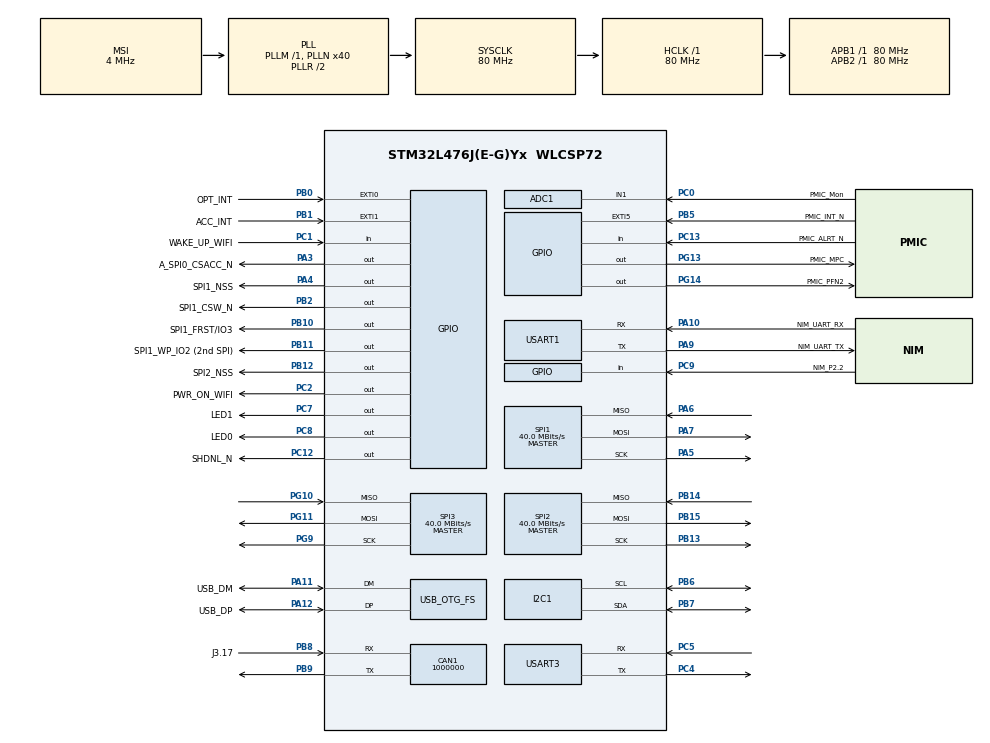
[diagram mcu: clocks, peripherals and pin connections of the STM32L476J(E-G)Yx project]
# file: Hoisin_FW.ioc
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ADC1.Channel-1\#ChannelRegularConversion=ADC_CHANNEL_1
ADC1.NbrOfConversionFlag=1
ADC1.OffsetNumber-1\#ChannelRegularConversion=ADC_OFFSET_NONE
ADC1.Rank-1\#ChannelRegularConversion=1
ADC1.SamplingTime-1\#ChannelRegularConversion=ADC_SAMPLETIME_2CYCLES_5
ADC1.master=1
CAN1.BS2=CAN_BS2_3TQ
CAN1.CalculateBaudRate=1000000
CAN1.CalculateTimeBit=1000
CAN1.CalculateTimeQuantum=200.0
I2C1.Timing=0x10D19CE4
Mcu.Family=STM32L4
Mcu.Name=STM32L476J(E-G)Yx
Mcu.Package=WLCSP72
NVIC.OTG_FS_IRQn=true\:0\:0\:false\:false\:true\:false\:true\:true
NVIC.PriorityGroup=NVIC_PRIORITYGROUP_4
PA10.GPIO_Label=NIM_UART_RX
PA10.Mode=Asynchronous
PA10.Signal=USART1_RX
PA11.GPIO_Label=USB_DM
PA11.Mode=Device_Only
PA11.Signal=USB_OTG_FS_DM
PA12.GPIO_Label=USB_DP
PA12.Mode=Device_Only
PA12.Signal=USB_OTG_FS_DP
PA13\ (JTMS-SWDIO).GPIO_Label=NIM_SWDIO
PA13\ (JTMS-SWDIO).Mode=Serial_Wire
PA13\ (JTMS-SWDIO).Signal=SYS_JTMS-SWDIO
PA14\ (JTCK-SWCLK).GPIO_Label=NIM_SWDCLK
PA14\ (JTCK-SWCLK).Mode=Serial_Wire
PA14\ (JTCK-SWCLK).Signal=SYS_JTCK-SWCLK
PA3.GPIO_Label=A_SPI0_CSACC_N
PA3.Signal=GPIO_Output
PA4.GPIO_Label=SPI1_NSS
PA4.Signal=GPIO_Output
PA5.Mode=Full_Duplex_Master
PA5.Signal=SPI1_SCK
PA6.Mode=Full_Duplex_Master
PA6.Signal=SPI1_MISO
PA7.Mode=Full_Duplex_Master
PA7.Signal=SPI1_MOSI
PA9.GPIO_Label=NIM_UART_TX
PA9.Mode=Asynchronous
PA9.Signal=USART1_TX
PB0.GPIO_Label=OPT_INT
PB0.Signal=GPXTI0
PB1.GPIO_Label=ACC_INT
PB1.Signal=GPXTI1
PB10.GPIO_Label=SPI1_FRST/IO3
PB10.Signal=GPIO_Output
PB11.GPIO_Label=SPI1_WP_IO2 (2nd SPI)
PB11.Signal=GPIO_Output
PB12.GPIO_Label=SPI2_NSS
PB12.Signal=GPIO_Output
PB13.Mode=Full_Duplex_Master
PB13.Signal=SPI2_SCK
PB14.Mode=Full_Duplex_Master
PB14.Signal=SPI2_MISO
PB15.Mode=Full_Duplex_Master
PB15.Signal=SPI2_MOSI
PB2.GPIO_Label=SPI1_CSW_N
PB2.Signal=GPIO_Output
PB5.GPIO_Label=PMIC_INT_N
PB5.Signal=GPXTI5
PB6.Mode=I2C
PB6.Signal=I2C1_SCL
PB7.Mode=I2C
PB7.Signal=I2C1_SDA
PB8.GPIO_Label=J3.17
PB8.Mode=CAN_Activate
PB8.Signal=CAN1_RX
PB9.Mode=CAN_Activate
PB9.Signal=CAN1_TX
PC0.GPIO_Label=PMIC_Mon
PC0.Signal=ADCx_IN1
PC1.GPIO_Label=WAKE_UP_WIFI
PC1.Signal=GPIO_Input
PC12.GPIO_Label=SHDNL_N
PC12.Signal=GPIO_Output
PC13.GPIO_Label=PMIC_ALRT_N
PC13.Signal=GPIO_Input
PC14-OSC32_IN\ (PC14).Mode=LSE-External-Oscillator
PC14-OSC32_IN\ (PC14).Signal=RCC_OSC32_IN
PC15-OSC32_OUT\ (PC15).Mode=LSE-External-Oscillator
PC15-OSC32_OUT\ (PC15).Signal=RCC_OSC32_OUT
PC2.GPIO_Label=PWR_ON_WIFI
PC2.Signal=GPIO_Output
PC4.Mode=Asynchronous
PC4.Signal=USART3_TX
PC5.Mode=Asynchronous
PC5.Signal=USART3_RX
PC7.GPIO_Label=LED1
PC7.Signal=GPIO_Output
PC8.GPIO_Label=LED0
PC8.Signal=GPIO_Output
PC9.GPIO_Label=NIM_P2.2
PC9.Signal=GPIO_Input
PG10.Mode=Full_Duplex_Master
PG10.Signal=SPI3_MISO
PG11.Mode=Full_Duplex_Master
PG11.Signal=SPI3_MOSI
PG12.Signal=SPI3_NSS
PG13.GPIO_Label=PMIC_MPC
PG13.Signal=GPIO_Output
PG14.GPIO_Label=PMIC_PFN2
PG14.Signal=GPIO_Output
PG9.Mode=Full_Duplex_Master
PG9.Signal=SPI3_SCK
ProjectManager.HeapSize=0x200
ProjectManager.StackSize=0x400
ProjectManager.TargetToolchain=STM32CubeIDE
RCC.ADCFreq_Value=48000000
RCC.AHBFreq_Value=80000000
RCC.APB1Freq_Value=80000000
RCC.APB1TimFreq_Value=80000000
RCC.APB2Freq_Value=80000000
RCC.APB2TimFreq_Value=80000000
RCC.CortexFreq_Value=80000000
RCC.HCLKFreq_Value=80000000
RCC.HSE_VALUE=8000000
RCC.HSI_VALUE=16000000
RCC.MSI_VALUE=4000000
RCC.PLLN=40
RCC.PLLQ=RCC_PLLQ_DIV4
RCC.PLLSAI1N=24
RCC.SYSCLKFreq_VALUE=80000000
RCC.SYSCLKSource=RCC_SYSCLKSOURCE_PLLCLK
RCC.USBFreq_Value=48000000
RCC.VCOOutputFreq_Value=160000000
SH.ADCx_IN1.0=ADC1_IN1,IN1-Single-Ended
SPI1.BaudRatePrescaler=SPI_BAUDRATEPRESCALER_2
SPI1.CalculateBaudRate=40.0 MBits/s
SPI1.Direction=SPI_DIRECTION_2LINES
SPI1.Mode=SPI_MODE_MASTER
SPI1.VirtualType=VM_MASTER
SPI2.BaudRatePrescaler=SPI_BAUDRATEPRESCALER_2
SPI2.CalculateBaudRate=40.0 MBits/s
SPI2.Direction=SPI_DIRECTION_2LINES
SPI2.Mode=SPI_MODE_MASTER
SPI2.VirtualType=VM_MASTER
SPI3.BaudRatePrescaler=SPI_BAUDRATEPRESCALER_2
SPI3.CalculateBaudRate=40.0 MBits/s
SPI3.Direction=SPI_DIRECTION_2LINES
SPI3.Mode=SPI_MODE_MASTER
SPI3.VirtualType=VM_MASTER
USART1.VirtualMode-Asynchronous=VM_ASYNC
USART3.VirtualMode-Asynchronous=VM_ASYNC
USB_DEVICE.CLASS_NAME_FS=CDC
USB_DEVICE.VirtualMode=Cdc
USB_DEVICE.VirtualModeFS=Cdc_FS
USB_OTG_FS.VirtualMode=Device_Only
VP_USB_DEVICE_VS_USB_DEVICE_CDC_FS.Mode=CDC_FS
board=custom

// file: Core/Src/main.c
/* USER CODE BEGIN Header */
/**
  ******************************************************************************
  * @file           : main.c
  * @brief          : Main program body
  ******************************************************************************
  * @attention
  *
  * Copyright (c) 2025 STMicroelectronics.
  * All rights reserved.
  *
  * This software is licensed under terms that can be found in the LICENSE file
  * in the root directory of this software component.
  * If no LICENSE file comes with this software, it is provided AS-IS.
  *
  ******************************************************************************
  */
/* USER CODE END Header */
#include "main.h"
#include "adc.h"
#include "can.h"
#include "i2c.h"
#include "spi.h"
#include "usart.h"
#include "usb_device.h"
#include "gpio.h"

/* USER CODE BEGIN Includes */
#include "max86171.h"
#include "kx122.h"
#include "max20303.h"
#include "nrf52_comm.h"
#include <stdio.h>
#include <string.h>
/* USER CODE END Includes */

/* USER CODE BEGIN PV */
// Sensor status flags
uint8_t max86171_initialized = 0;
uint8_t kx122_initialized = 0;
uint8_t max20303_initialized = 0;
uint8_t nrf52_initialized = 0;

// Sensor data buffers
KX122_AccelData_t accel_data;
uint8_t ppg_data[32];
uint8_t max20303_status[3];

// Timing variables
uint32_t last_sensor_read_time = 0;
uint32_t sensor_read_interval = 100;  // Read sensors every 100ms

/* USER CODE END PV */

void SystemClock_Config(void);
void PeriphCommonClock_Config(void);
/* USER CODE BEGIN PFP */
void InitializeSensors(void);
void ReadSensors(void);
void SendDataToBLE(void);
/* USER CODE END PFP */

/* USER CODE BEGIN 0 */
/**
  * @brief  Initialize all sensors
  * @retval None
  */
void InitializeSensors(void)
{
    HAL_StatusTypeDef status;

    // Initialize MAX20303 PMIC (I2C)
    printf("Initializing MAX20303 PMIC...\r\n");
    status = MAX20303_Init();
    if (status == HAL_OK) {
        max20303_initialized = 1;
        printf("MAX20303 initialized successfully!\r\n");
    } else {
        printf("MAX20303 initialization failed!\r\n");
    }

    HAL_Delay(100);

    // Initialize MAX86171 Optical Sensor (SPI)
    printf("Initializing MAX86171 Optical Sensor...\r\n");
    status = MAX86171_Init();
    if (status == HAL_OK) {
        max86171_initialized = 1;
        printf("MAX86171 initialized successfully! Part ID: 0x%02X\r\n", MAX86171_GetPartID());

        // Start measurement
        MAX86171_StartMeasurement();
    } else {
        printf("MAX86171 initialization failed!\r\n");
    }

    HAL_Delay(100);

    // Initialize KX122 Accelerometer (SPI)
    printf("Initializing KX122 Accelerometer...\r\n");
    status = KX122_Init();
    if (status == HAL_OK) {
        kx122_initialized = 1;
        printf("KX122 initialized successfully! WHO_AM_I: 0x%02X\r\n", KX122_GetWhoAmI());
    } else {
        printf("KX122 initialization failed!\r\n");
    }

    HAL_Delay(100);

    // Initialize NRF52 Communication (UART)
    printf("Initializing NRF52 Communication...\r\n");
    status = NRF52_Init();
    if (status == HAL_OK) {
        nrf52_initialized = 1;
        printf("NRF52 communication initialized successfully!\r\n");

        // Send ping to NRF52
        NRF52_Ping();
    } else {
        printf("NRF52 initialization failed!\r\n");
    }

    printf("\r\n=== Sensor Initialization Complete ===\r\n");
    printf("MAX20303 PMIC: %s\r\n", max20303_initialized ? "OK" : "FAILED");
    printf("MAX86171 Optical: %s\r\n", max86171_initialized ? "OK" : "FAILED");
    printf("KX122 Accel: %s\r\n", kx122_initialized ? "OK" : "FAILED");
    printf("NRF52 BLE: %s\r\n", nrf52_initialized ? "OK" : "FAILED");
    printf("=====================================\r\n\r\n");
}

/**
  * @brief  Read data from all sensors
  * @retval None
  */
void ReadSensors(void)
{
    HAL_StatusTypeDef status;

    // Read KX122 Accelerometer
    if (kx122_initialized) {
        status = KX122_ReadAccelData(&accel_data);
        if (status == HAL_OK) {
//            printf("Accel: X=%.2fg, Y=%.2fg, Z=%.2fg\r\n",
//                   accel_data.x_g, accel_data.y_g, accel_data.z_g);
        }
    }

    // Read MAX86171 FIFO (example - read 32 bytes)
    if (max86171_initialized) {
        status = MAX86171_ReadFIFO(ppg_data, 32);
        if (status == HAL_OK) {
            printf("PPG data read successfully\r\n");
        }
    }

    // Read MAX20303 Status
    if (max20303_initialized) {
        status = MAX20303_GetStatus(&max20303_status[0], &max20303_status[1], &max20303_status[2]);
        if (status == HAL_OK) {
            uint8_t charging = 0;
            MAX20303_GetChargerStatus(&charging);
            printf("PMIC Status: 0x%02X 0x%02X 0x%02X, Charging: %s\r\n",
                   max20303_status[0], max20303_status[1], max20303_status[2],
                   charging ? "Yes" : "No");
        }
    }
}

/**
  * @brief  Send sensor data to BLE module
  * @retval None
  */
void SendDataToBLE(void)
{
    if (nrf52_initialized) {
        // Create a simple data packet
        uint8_t data_packet[32];
        uint16_t index = 0;

        // Add accelerometer data
        data_packet[index++] = (uint8_t)(accel_data.x >> 8);
        data_packet[index++] = (uint8_t)(accel_data.x & 0xFF);
        data_packet[index++] = (uint8_t)(accel_data.y >> 8);
        data_packet[index++] = (uint8_t)(accel_data.y & 0xFF);
        data_packet[index++] = (uint8_t)(accel_data.z >> 8);
        data_packet[index++] = (uint8_t)(accel_data.z & 0xFF);

        // Add PPG data (first 4 bytes as example)
        data_packet[index++] = ppg_data[0];
        data_packet[index++] = ppg_data[1];
        data_packet[index++] = ppg_data[2];
        data_packet[index++] = ppg_data[3];

        // Send to NRF52
        NRF52_SendSensorData(data_packet, index);
        printf("Data sent to BLE module\r\n");
    }
}

/* USER CODE END 0 */

int main(void)
{

  /* MCU Configuration--------------------------------------------------------*/

  /* Reset of all peripherals, Initializes the Flash interface and the Systick. */
  HAL_Init();

  /* Configure the system clock */
  SystemClock_Config();

  /* Configure the peripherals common clocks */
  PeriphCommonClock_Config();

  /* Initialize all configured peripherals */
  MX_GPIO_Init();
  MX_USART1_UART_Init();
  MX_USB_DEVICE_Init();
  MX_CAN1_Init();
  MX_SPI1_Init();
  MX_SPI2_Init();
  MX_SPI3_Init();
  MX_USART3_UART_Init();
  MX_ADC1_Init();
  MX_I2C1_Init();
  /* USER CODE BEGIN 2 */

  // Toggle LED to indicate startup
    HAL_GPIO_WritePin(LED0_GPIO_Port, LED0_Pin, GPIO_PIN_SET);
    HAL_Delay(500);
    HAL_GPIO_WritePin(LED0_GPIO_Port, LED0_Pin, GPIO_PIN_RESET);

    printf("\r\n\r\n=== STM32 Sensor System Starting ===\r\n");

    // Initialize all sensors
    InitializeSensors();

    // Record start time
    last_sensor_read_time = HAL_GetTick();

    printf("Entering main loop...\r\n\r\n");

  /* USER CODE END 2 */

  /* Infinite loop */
  while (1)
  {

    /* USER CODE BEGIN 3 */
	  // Check if it's time to read sensors
	      uint32_t current_time = HAL_GetTick();
	      if (current_time - last_sensor_read_time >= sensor_read_interval) {
	          last_sensor_read_time = current_time;

	          // Toggle LED to indicate activity
	          HAL_GPIO_TogglePin(LED1_GPIO_Port, LED1_Pin);

	          // Read all sensors
	          ReadSensors();

	          // Send data to BLE module
	          SendDataToBLE();

	          printf("\r\n");
	      }

	      // Add other application code here
	      HAL_Delay(10);
  }
  /* USER CODE END 3 */
}

void SystemClock_Config(void)
{
  RCC_OscInitTypeDef RCC_OscInitStruct = {0};
  RCC_ClkInitTypeDef RCC_ClkInitStruct = {0};

  /** Configure the main internal regulator output voltage
  */
  if (HAL_PWREx_ControlVoltageScaling(PWR_REGULATOR_VOLTAGE_SCALE1) != HAL_OK)
  {
    Error_Handler();
  }

  /** Configure LSE Drive Capability
  */
  HAL_PWR_EnableBkUpAccess();
  __HAL_RCC_LSEDRIVE_CONFIG(RCC_LSEDRIVE_LOW);

  /** Initializes the RCC Oscillators according to the specified parameters
  * in the RCC_OscInitTypeDef structure.
  */
  RCC_OscInitStruct.OscillatorType = RCC_OSCILLATORTYPE_LSE|RCC_OSCILLATORTYPE_MSI;
  RCC_OscInitStruct.LSEState = RCC_LSE_ON;
  RCC_OscInitStruct.MSIState = RCC_MSI_ON;
  RCC_OscInitStruct.MSICalibrationValue = 0;
  RCC_OscInitStruct.MSIClockRange = RCC_MSIRANGE_6;
  RCC_OscInitStruct.PLL.PLLState = RCC_PLL_ON;
  RCC_OscInitStruct.PLL.PLLSource = RCC_PLLSOURCE_MSI;
  RCC_OscInitStruct.PLL.PLLM = 1;
  RCC_OscInitStruct.PLL.PLLN = 40;
  RCC_OscInitStruct.PLL.PLLP = RCC_PLLP_DIV7;
  RCC_OscInitStruct.PLL.PLLQ = RCC_PLLQ_DIV4;
  RCC_OscInitStruct.PLL.PLLR = RCC_PLLR_DIV2;
  if (HAL_RCC_OscConfig(&RCC_OscInitStruct) != HAL_OK)
  {
    Error_Handler();
  }

  /** Initializes the CPU, AHB and APB buses clocks
  */
  RCC_ClkInitStruct.ClockType = RCC_CLOCKTYPE_HCLK|RCC_CLOCKTYPE_SYSCLK
                              |RCC_CLOCKTYPE_PCLK1|RCC_CLOCKTYPE_PCLK2;
  RCC_ClkInitStruct.SYSCLKSource = RCC_SYSCLKSOURCE_PLLCLK;
  RCC_ClkInitStruct.AHBCLKDivider = RCC_SYSCLK_DIV1;
  RCC_ClkInitStruct.APB1CLKDivider = RCC_HCLK_DIV1;
  RCC_ClkInitStruct.APB2CLKDivider = RCC_HCLK_DIV1;

  if (HAL_RCC_ClockConfig(&RCC_ClkInitStruct, FLASH_LATENCY_4) != HAL_OK)
  {
    Error_Handler();
  }

  /** Enable MSI Auto calibration
  */
  HAL_RCCEx_EnableMSIPLLMode();
}

void PeriphCommonClock_Config(void)
{
  RCC_PeriphCLKInitTypeDef PeriphClkInit = {0};

  /** Initializes the peripherals clock
  */
  PeriphClkInit.PeriphClockSelection = RCC_PERIPHCLK_USB|RCC_PERIPHCLK_ADC;
  PeriphClkInit.AdcClockSelection = RCC_ADCCLKSOURCE_PLLSAI1;
  PeriphClkInit.UsbClockSelection = RCC_USBCLKSOURCE_PLLSAI1;
  PeriphClkInit.PLLSAI1.PLLSAI1Source = RCC_PLLSOURCE_MSI;
  PeriphClkInit.PLLSAI1.PLLSAI1M = 1;
  PeriphClkInit.PLLSAI1.PLLSAI1N = 24;
  PeriphClkInit.PLLSAI1.PLLSAI1P = RCC_PLLP_DIV7;
  PeriphClkInit.PLLSAI1.PLLSAI1Q = RCC_PLLQ_DIV2;
  PeriphClkInit.PLLSAI1.PLLSAI1R = RCC_PLLR_DIV2;
  PeriphClkInit.PLLSAI1.PLLSAI1ClockOut = RCC_PLLSAI1_48M2CLK|RCC_PLLSAI1_ADC1CLK;
  if (HAL_RCCEx_PeriphCLKConfig(&PeriphClkInit) != HAL_OK)
  {
    Error_Handler();
  }
}

/* USER CODE BEGIN 4 */
int __io_putchar(int ch){
    HAL_UART_Transmit(&huart1, (uint8_t *)&ch, 1, HAL_MAX_DELAY);
    return ch;
}
/* USER CODE END 4 */

void Error_Handler(void)
{
  __disable_irq();
  while (1)
  {
  }
}
